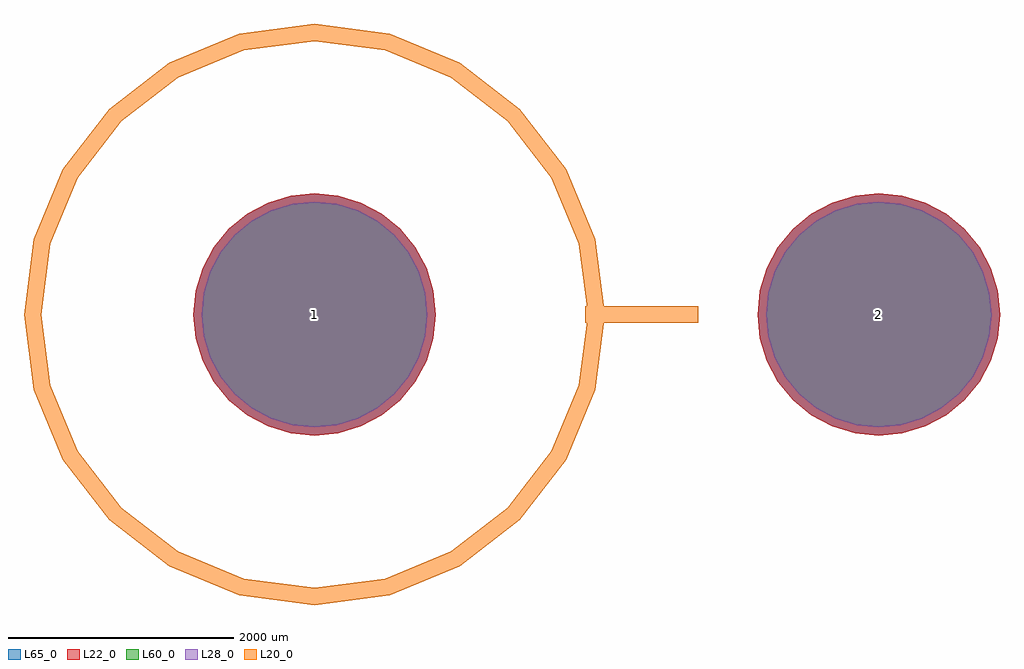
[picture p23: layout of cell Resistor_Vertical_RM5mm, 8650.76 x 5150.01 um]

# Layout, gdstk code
import gdstk
lib = gdstk.Library(unit=1e-6, precision=1e-09)
def P(c, l, *ps):  # polygons
    for p in ps: c.add(gdstk.Polygon(p, *l))
L20_0 = (20, 0)
L22_0 = (22, 0)
L28_0 = (28, 0)
L60_0 = (60, 0)
L65_0 = (65, 0)

resistor_vertical_rm5mm = lib.new_cell('Resistor_Vertical_RM5mm')
P(resistor_vertical_rm5mm, L22_0, [(3576.39,0),(3555.744,209.623),(3494.599,411.19),(3395.306,596.955),(3261.679,759.779),(3098.855,893.406),(2913.09,992.699),(2711.523,1053.844),(2501.9,1074.49),(2292.277,1053.844),(2090.71,992.699),(1904.945,893.406),(1742.121,759.779),(1608.494,596.955),(1509.201,411.19),(1448.056,209.623),(1427.41,0),(1448.056,-209.623),(1509.201,-411.19),(1608.494,-596.955),(1742.121,-759.779),(1904.945,-893.406),(2090.71,-992.699),(2292.277,-1053.844),(2501.9,-1074.49),(2711.523,-1053.844),(2913.09,-992.699),(3098.855,-893.406),(3261.679,-759.779),(3395.306,-596.955),(3494.599,-411.19),(3555.744,-209.623)],
  [(-1424.87,0),(-1445.516,209.623),(-1506.661,411.19),(-1605.954,596.955),(-1739.581,759.779),(-1902.405,893.406),(-2088.17,992.699),(-2289.737,1053.844),(-2499.36,1074.49),(-2708.983,1053.844),(-2910.55,992.699),(-3096.315,893.406),(-3259.139,759.779),(-3392.766,596.955),(-3492.059,411.19),(-3553.204,209.623),(-3573.85,0),(-3553.204,-209.623),(-3492.059,-411.19),(-3392.766,-596.955),(-3259.139,-759.779),(-3096.315,-893.406),(-2910.55,-992.699),(-2708.983,-1053.844),(-2499.36,-1074.49),(-2289.737,-1053.844),(-2088.17,-992.699),(-1902.405,-893.406),(-1739.581,-759.779),(-1605.954,-596.955),(-1506.661,-411.19),(-1445.516,-209.623)])
P(resistor_vertical_rm5mm, L28_0, [(3501.39,0),(3482.185,194.991),(3425.308,382.488),(3332.946,555.287),(3208.646,706.746),(3057.187,831.046),(2884.388,923.408),(2696.891,980.285),(2501.9,999.49),(2306.909,980.285),(2119.412,923.408),(1946.613,831.046),(1795.154,706.746),(1670.854,555.287),(1578.492,382.488),(1521.615,194.991),(1502.41,0),(1521.615,-194.991),(1578.492,-382.488),(1670.854,-555.287),(1795.154,-706.746),(1946.613,-831.046),(2119.412,-923.408),(2306.909,-980.285),(2501.9,-999.49),(2696.891,-980.285),(2884.388,-923.408),(3057.187,-831.046),(3208.646,-706.746),(3332.946,-555.287),(3425.308,-382.488),(3482.185,-194.991)],
  [(-1499.87,0),(-1519.075,194.991),(-1575.952,382.488),(-1668.314,555.287),(-1792.614,706.746),(-1944.073,831.046),(-2116.872,923.408),(-2304.369,980.285),(-2499.36,999.49),(-2694.351,980.285),(-2881.848,923.408),(-3054.647,831.046),(-3206.106,706.746),(-3330.406,555.287),(-3422.768,382.488),(-3479.645,194.991),(-3498.85,0),(-3479.645,-194.991),(-3422.768,-382.488),(-3330.406,-555.287),(-3206.106,-706.746),(-3054.647,-831.046),(-2881.848,-923.408),(-2694.351,-980.285),(-2499.36,-999.49),(-2304.369,-980.285),(-2116.872,-923.408),(-1944.073,-831.046),(-1792.614,-706.746),(-1668.314,-555.287),(-1575.952,-382.488),(-1519.075,-194.991)])
P(resistor_vertical_rm5mm, L60_0, [(3501.39,0),(3482.185,194.991),(3425.308,382.488),(3332.946,555.287),(3208.646,706.746),(3057.187,831.046),(2884.388,923.408),(2696.891,980.285),(2501.9,999.49),(2306.909,980.285),(2119.412,923.408),(1946.613,831.046),(1795.154,706.746),(1670.854,555.287),(1578.492,382.488),(1521.615,194.991),(1502.41,0),(1521.615,-194.991),(1578.492,-382.488),(1670.854,-555.287),(1795.154,-706.746),(1946.613,-831.046),(2119.412,-923.408),(2306.909,-980.285),(2501.9,-999.49),(2696.891,-980.285),(2884.388,-923.408),(3057.187,-831.046),(3208.646,-706.746),(3332.946,-555.287),(3425.308,-382.488),(3482.185,-194.991)],
  [(-1499.87,0),(-1519.075,194.991),(-1575.952,382.488),(-1668.314,555.287),(-1792.614,706.746),(-1944.073,831.046),(-2116.872,923.408),(-2304.369,980.285),(-2499.36,999.49),(-2694.351,980.285),(-2881.848,923.408),(-3054.647,831.046),(-3206.106,706.746),(-3330.406,555.287),(-3422.768,382.488),(-3479.645,194.991),(-3498.85,0),(-3479.645,-194.991),(-3422.768,-382.488),(-3330.406,-555.287),(-3206.106,-706.746),(-3054.647,-831.046),(-2881.848,-923.408),(-2694.351,-980.285),(-2499.36,-999.49),(-2304.369,-980.285),(-2116.872,-923.408),(-1944.073,-831.046),(-1792.614,-706.746),(-1668.314,-555.287),(-1575.952,-382.488),(-1519.075,-194.991)])
P(resistor_vertical_rm5mm, L65_0, [(3576.39,0),(3555.744,209.623),(3494.599,411.19),(3395.306,596.955),(3261.679,759.779),(3098.855,893.406),(2913.09,992.699),(2711.523,1053.844),(2501.9,1074.49),(2292.277,1053.844),(2090.71,992.699),(1904.945,893.406),(1742.121,759.779),(1608.494,596.955),(1509.201,411.19),(1448.056,209.623),(1427.41,0),(1448.056,-209.623),(1509.201,-411.19),(1608.494,-596.955),(1742.121,-759.779),(1904.945,-893.406),(2090.71,-992.699),(2292.277,-1053.844),(2501.9,-1074.49),(2711.523,-1053.844),(2913.09,-992.699),(3098.855,-893.406),(3261.679,-759.779),(3395.306,-596.955),(3494.599,-411.19),(3555.744,-209.623)],
  [(-1424.87,0),(-1445.516,209.623),(-1506.661,411.19),(-1605.954,596.955),(-1739.581,759.779),(-1902.405,893.406),(-2088.17,992.699),(-2289.737,1053.844),(-2499.36,1074.49),(-2708.983,1053.844),(-2910.55,992.699),(-3096.315,893.406),(-3259.139,759.779),(-3392.766,596.955),(-3492.059,411.19),(-3553.204,209.623),(-3573.85,0),(-3553.204,-209.623),(-3492.059,-411.19),(-3392.766,-596.955),(-3259.139,-759.779),(-3096.315,-893.406),(-2910.55,-992.699),(-2708.983,-1053.844),(-2499.36,-1074.49),(-2289.737,-1053.844),(-2088.17,-992.699),(-1902.405,-893.406),(-1739.581,-759.779),(-1605.954,-596.955),(-1506.661,-411.19),(-1445.516,-209.623)])
resistor_vertical_rm5mm.add(gdstk.FlexPath([(0,0),(-85.164,646.882),(-334.851,1249.68),(-732.046,1767.314),(-1249.68,2164.509),(-1852.478,2414.196),(-2499.36,2499.36),(-3146.242,2414.196),(-3749.04,2164.509),(-4266.674,1767.314),(-4663.869,1249.68),(-4913.556,646.882),(-4998.72,0),(-4913.556,-646.882),(-4663.869,-1249.68),(-4266.674,-1767.314),(-3749.04,-2164.509),(-3146.242,-2414.196),(-2499.36,-2499.36),(-1852.478,-2414.196),(-1249.68,-2164.509),(-732.046,-1767.314),(-334.851,-1249.68),(-85.164,-646.882),(0,0)], 149.998, ends="flush", simple_path=True, layer=20, datatype=0))  # L20_0
resistor_vertical_rm5mm.add(gdstk.FlexPath([(-99.06,0),(901.7,0)], 149.998, ends="flush", simple_path=True, layer=20, datatype=0))  # L20_0
resistor_vertical_rm5mm.add(gdstk.Label('2', (2501.9,0), layer=28, texttype=0))
resistor_vertical_rm5mm.add(gdstk.Label('1', (-2499.36,0), layer=28, texttype=0))
resistor_vertical_rm5mm.add(gdstk.Label('type', (0,-4500.88), layer=9, texttype=0))
resistor_vertical_rm5mm.add(gdstk.Label('devicename', (2700.02,3299.46), layer=9, texttype=0))

lib.write_gds('Resistor_Vertical_RM5mm.gds')
